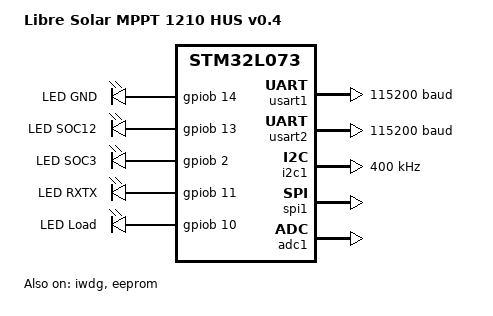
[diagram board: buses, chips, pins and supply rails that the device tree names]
/*
 * SPDX-License-Identifier: Apache-2.0
 *
 * Copyright (c) 2019 Martin Jäger / Libre Solar
 */

/dts-v1/;
#include <st/l0/stm32l073Xz.dtsi>

/ {
	model = "Libre Solar MPPT 1210 HUS v0.4";
	compatible = "st,stm32l073";

	charge-controller {
		compatible = "charge-controller";
		hs-voltage-max = <40>;
		ls-voltage-max = <16>;
	};

	dcdc {
		compatible = "dcdc";
		pwm-frequency = <50000>;
		pwm-deadtime = <230>;
		current-max = <10>;
	};

	chosen {
		zephyr,console = &usart1;
		zephyr,shell-uart = &usart1;
		zephyr,sram = &sram0;
		zephyr,flash = &flash0;
	};

	leds {
		compatible = "gpio-leds";
		gnd {
			gpios = <&gpiob 14 GPIO_ACTIVE_HIGH>;
			label = "LED GND";
		};
		soc12 {
			gpios = <&gpiob 13 GPIO_ACTIVE_HIGH>;
			label = "LED SOC12";
		};
		soc3 {
			gpios = <&gpiob 2 GPIO_ACTIVE_HIGH>;
			label = "LED SOC3";
		};
		rxtx {
			gpios = <&gpiob 11 GPIO_ACTIVE_HIGH>;
			label = "LED RXTX";
		};
		load {
			gpios = <&gpiob 10 GPIO_ACTIVE_HIGH>;
			label = "LED Load";
		};
	};

	switches {
		compatible = "switch";
		load {
			gpios = <&gpioc 13 GPIO_ACTIVE_HIGH>;
			label = "Load enable";
		};
		usb-pwr {
			gpios = <&gpiob 12 GPIO_ACTIVE_HIGH>;
			label = "USB charging port enable";
		};
	};

	aliases {
		uart-dbg = &usart1;
		uext-uart = &usart2;
		spi-uext = &spi1;
		i2c-uext = &i2c1;
	};
};

&usart1 {
	current-speed = <115200>;
	status = "okay";
};

&usart2 {
	current-speed = <115200>;
	status = "okay";
};

&i2c1 {
	status = "okay";
	clock-frequency = <I2C_BITRATE_FAST>;
};

&spi1 {
	status = "okay";
};

&iwdg {
	status = "okay";
};

&adc1 {
	status = "okay";
};

&eeprom {
	status = "okay";
};
